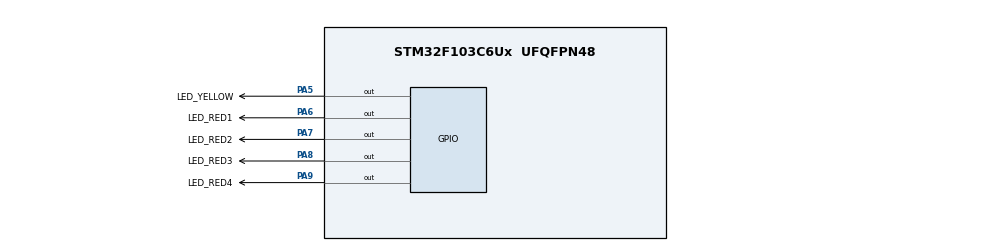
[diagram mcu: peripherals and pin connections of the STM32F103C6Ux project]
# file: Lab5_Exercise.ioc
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Mcu.Family=STM32F1
Mcu.Name=STM32F103C6Ux
Mcu.Package=UFQFPN48
NVIC.PriorityGroup=NVIC_PRIORITYGROUP_4
NVIC.TIM2_IRQn=true\:0\:0\:false\:false\:true\:true\:true
PA5.GPIO_Label=LED_YELLOW
PA5.Signal=GPIO_Output
PA6.GPIO_Label=LED_RED1
PA6.Signal=GPIO_Output
PA7.GPIO_Label=LED_RED2
PA7.Signal=GPIO_Output
PA8.GPIO_Label=LED_RED3
PA8.Signal=GPIO_Output
PA9.GPIO_Label=LED_RED4
PA9.Signal=GPIO_Output
ProjectManager.HeapSize=0x200
ProjectManager.StackSize=0x400
ProjectManager.TargetToolchain=STM32CubeIDE
RCC.APB1Freq_Value=8000000
RCC.APB2Freq_Value=8000000
TIM2.Period=9
TIM2.Prescaler=7999
VP_SYS_VS_ND.Mode=No_Debug
VP_TIM2_VS_ClockSourceINT.Mode=Internal
board=custom

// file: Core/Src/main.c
/* USER CODE BEGIN Header */
/**
  ******************************************************************************
  * @file           : main.c
  * @brief          : Main program body
  ******************************************************************************
  * @attention
  *
  * <h2><center>&copy; Copyright (c) 2023 STMicroelectronics.
  * All rights reserved.</center></h2>
  *
  * This software component is licensed by ST under BSD 3-Clause license,
  * the "License"; You may not use this file except in compliance with the
  * License. You may obtain a copy of the License at:
  *                        opensource.org/licenses/BSD-3-Clause
  *
  ******************************************************************************
  */
/* USER CODE END Header */
#include "main.h"

/* USER CODE BEGIN Includes */
#include "global.h"
#include "scheduler.h"
#include "software_timer.h"
#include "Led.h"
#include <stdio.h>

/* USER CODE END Includes */

TIM_HandleTypeDef htim2;

void SystemClock_Config(void);
static void MX_GPIO_Init(void);
static void MX_TIM2_Init(void);

int main(void)
{

  /* MCU Configuration--------------------------------------------------------*/

  /* Reset of all peripherals, Initializes the Flash interface and the Systick. */
  HAL_Init();

  /* Configure the system clock */
  SystemClock_Config();

  /* Initialize all configured peripherals */
  MX_GPIO_Init();
  MX_TIM2_Init();
  /* USER CODE BEGIN 2 */
  HAL_TIM_Base_Start_IT (&htim2 );
  /* USER CODE END 2 */

  /* Infinite loop */
  /* USER CODE BEGIN WHILE */
  SCH_Init();
  SCH_Add_Task(LED_oneshot, 200, 0);
  SCH_Add_Task(LED1, 100, 50);
  SCH_Add_Task(LED2, 100, 100);
  SCH_Add_Task(LED3, 100, 150);
  SCH_Add_Task(LED4, 100, 250);
  SCH_Delete_Task(2);
  while (1)
  {
	  SCH_Dispatch_Tasks();
    /* USER CODE END WHILE */

  }
}

void SystemClock_Config(void)
{
  RCC_OscInitTypeDef RCC_OscInitStruct = {0};
  RCC_ClkInitTypeDef RCC_ClkInitStruct = {0};

  /** Initializes the RCC Oscillators according to the specified parameters
  * in the RCC_OscInitTypeDef structure.
  */
  RCC_OscInitStruct.OscillatorType = RCC_OSCILLATORTYPE_HSI;
  RCC_OscInitStruct.HSIState = RCC_HSI_ON;
  RCC_OscInitStruct.HSICalibrationValue = RCC_HSICALIBRATION_DEFAULT;
  RCC_OscInitStruct.PLL.PLLState = RCC_PLL_NONE;
  if (HAL_RCC_OscConfig(&RCC_OscInitStruct) != HAL_OK)
  {
    Error_Handler();
  }
  /** Initializes the CPU, AHB and APB buses clocks
  */
  RCC_ClkInitStruct.ClockType = RCC_CLOCKTYPE_HCLK|RCC_CLOCKTYPE_SYSCLK
                              |RCC_CLOCKTYPE_PCLK1|RCC_CLOCKTYPE_PCLK2;
  RCC_ClkInitStruct.SYSCLKSource = RCC_SYSCLKSOURCE_HSI;
  RCC_ClkInitStruct.AHBCLKDivider = RCC_SYSCLK_DIV1;
  RCC_ClkInitStruct.APB1CLKDivider = RCC_HCLK_DIV1;
  RCC_ClkInitStruct.APB2CLKDivider = RCC_HCLK_DIV1;

  if (HAL_RCC_ClockConfig(&RCC_ClkInitStruct, FLASH_LATENCY_0) != HAL_OK)
  {
    Error_Handler();
  }
}

static void MX_TIM2_Init(void)
{

  TIM_ClockConfigTypeDef sClockSourceConfig = {0};
  TIM_MasterConfigTypeDef sMasterConfig = {0};

  htim2.Instance = TIM2;
  htim2.Init.Prescaler = 7999;
  htim2.Init.CounterMode = TIM_COUNTERMODE_UP;
  htim2.Init.Period = 9;
  htim2.Init.ClockDivision = TIM_CLOCKDIVISION_DIV1;
  htim2.Init.AutoReloadPreload = TIM_AUTORELOAD_PRELOAD_DISABLE;
  if (HAL_TIM_Base_Init(&htim2) != HAL_OK)
  {
    Error_Handler();
  }
  sClockSourceConfig.ClockSource = TIM_CLOCKSOURCE_INTERNAL;
  if (HAL_TIM_ConfigClockSource(&htim2, &sClockSourceConfig) != HAL_OK)
  {
    Error_Handler();
  }
  sMasterConfig.MasterOutputTrigger = TIM_TRGO_RESET;
  sMasterConfig.MasterSlaveMode = TIM_MASTERSLAVEMODE_DISABLE;
  if (HAL_TIMEx_MasterConfigSynchronization(&htim2, &sMasterConfig) != HAL_OK)
  {
    Error_Handler();
  }

}

static void MX_GPIO_Init(void)
{
  GPIO_InitTypeDef GPIO_InitStruct = {0};

  /* GPIO Ports Clock Enable */
  __HAL_RCC_GPIOA_CLK_ENABLE();

  /*Configure GPIO pin Output Level */
  HAL_GPIO_WritePin(GPIOA, LED_YELLOW_Pin|LED_RED1_Pin|LED_RED2_Pin|LED_RED3_Pin
                          |LED_RED4_Pin, GPIO_PIN_RESET);

  /*Configure GPIO pins : LED_YELLOW_Pin LED_RED1_Pin LED_RED2_Pin LED_RED3_Pin
                           LED_RED4_Pin */
  GPIO_InitStruct.Pin = LED_YELLOW_Pin|LED_RED1_Pin|LED_RED2_Pin|LED_RED3_Pin
                          |LED_RED4_Pin;
  GPIO_InitStruct.Mode = GPIO_MODE_OUTPUT_PP;
  GPIO_InitStruct.Pull = GPIO_NOPULL;
  GPIO_InitStruct.Speed = GPIO_SPEED_FREQ_LOW;
  HAL_GPIO_Init(GPIOA, &GPIO_InitStruct);

}

/* USER CODE BEGIN 4 */
void HAL_TIM_PeriodElapsedCallback(TIM_HandleTypeDef *htim) {
	//timerRun();
	SCH_Update();
}
/* USER CODE END 4 */

void Error_Handler(void)
{
  __disable_irq();
  while (1)
  {
  }
}

/************************ (C) COPYRIGHT STMicroelectronics *****END OF FILE****/
